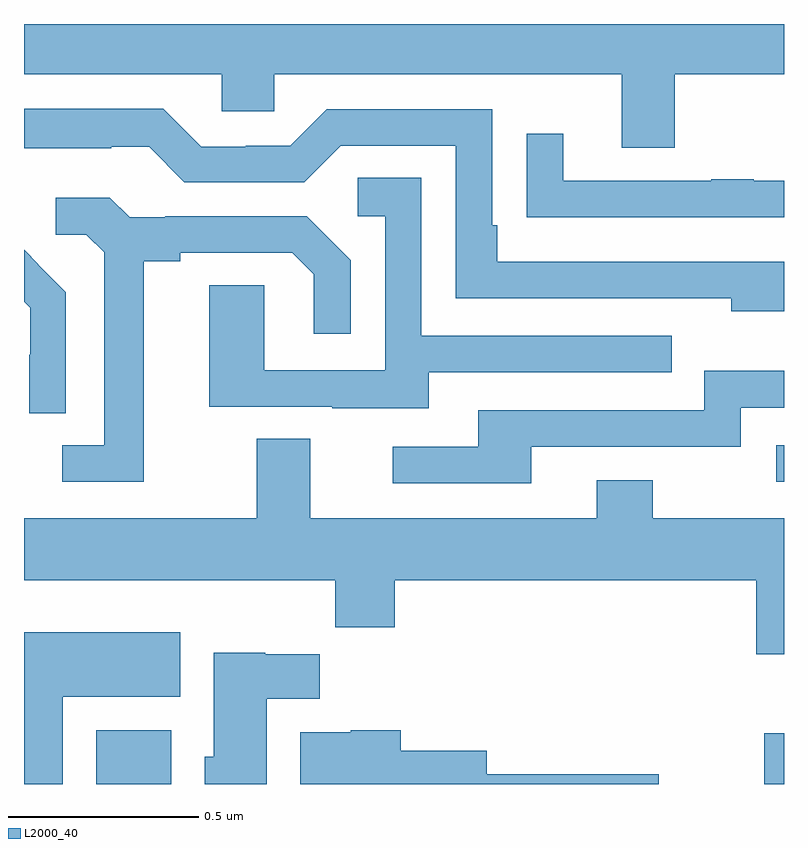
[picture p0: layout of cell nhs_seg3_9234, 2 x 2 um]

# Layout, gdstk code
import gdstk
lib = gdstk.Library(unit=1e-6, precision=1e-09)
def R(c, l, rs):  # rectangles x0, y0, x1, y1
    for r in rs: c.add(gdstk.rectangle(r[:2], r[2:], *l))
def P(c, l, *ps):  # polygons
    for p in ps: c.add(gdstk.Polygon(p, *l))
L2000_40 = (2000, 40)

nhs_seg3_9234 = lib.new_cell('nhs_seg3_9234')
R(nhs_seg3_9234, L2000_40, [(226.19,680.4,226.387,680.542), (227.948,680.4,228,680.533), (227.979,681.195,228,681.291)])
P(nhs_seg3_9234, L2000_40, [(227.713,682.268),(228,682.268),(228,682.4),(226,682.4),(226,682.268),(226.521,682.268),(226.521,682.17),(226.659,682.17),(226.659,682.268),(227.573,682.268),(227.573,682.074),(227.713,682.074)],
  [(228,681.774),(227.245,681.774),(227.245,681.871),(227.232,681.871),(227.232,682.176),(226.797,682.176),(226.701,682.08),(226.583,682.08),(226.583,682.077),(226.467,682.077),(226.367,682.177),(226,682.177),(226,682.073),(226.229,682.073),(226.229,682.077),(226.329,682.077),(226.422,681.984),(226.737,681.984),(226.833,682.08),(227.136,682.08),(227.136,681.678),(227.861,681.678),(227.861,681.644),(228,681.644)],
  [(228,681.987),(227.921,681.987),(227.921,681.992),(227.809,681.992),(227.809,681.987),(227.419,681.987),(227.419,682.111),(227.323,682.111),(227.323,681.892),(227.425,681.892),(227.425,681.891),(228,681.891)],
  [(227.065,681.483),(227.705,681.483),(227.705,681.579),(227.046,681.579),(227.046,681.995),(226.878,681.995),(226.878,681.894),(226.95,681.894),(226.95,681.489),(226.632,681.489),(226.632,681.713),(226.487,681.713),(226.487,681.393),(226.811,681.393),(226.811,681.389),(227.065,681.389)],
  [(226.315,681.776),(226.411,681.776),(226.411,681.798),(226.706,681.798),(226.763,681.741),(226.763,681.585),(226.86,681.585),(226.86,681.778),(226.744,681.894),(226.372,681.894),(226.372,681.891),(226.278,681.891),(226.226,681.943),(226.083,681.943),(226.083,681.846),(226.164,681.846),(226.211,681.799),(226.211,681.291),(226.101,681.291),(226.101,681.195),(226.315,681.195)],
  [(226.11,681.694),(226.037,681.767),(226.038,681.768),(226,681.806),(226,681.669),(226.016,681.653),(226.016,681.53),(226.014,681.53),(226.014,681.376),(226.11,681.376)],
  [(227.335,681.288),(227.886,681.288),(227.886,681.39),(228,681.39),(228,681.487),(227.79,681.487),(227.79,681.384),(227.195,681.384),(227.195,681.288),(226.971,681.288),(226.971,681.192),(227.335,681.192)],
  [(228,681.1),(227.655,681.1),(227.655,681.199),(227.507,681.199),(227.507,681.1),(226.753,681.1),(226.753,681.308),(226.613,681.308),(226.613,681.1),(226,681.1),(226,680.936),(226.819,680.936),(226.819,680.812),(226.976,680.812),(226.976,680.936),(227.927,680.936),(227.927,680.742),(228,680.742)],
  [(226.102,680.63),(226.411,680.63),(226.411,680.8),(226,680.8),(226,680.4),(226.102,680.4)],
  [(226.639,680.624),(226.778,680.624),(226.778,680.742),(226.635,680.742),(226.635,680.746),(226.499,680.746),(226.499,680.472),(226.475,680.472),(226.475,680.4),(226.639,680.4)],
  [(227.671,680.426),(227.218,680.426),(227.218,680.488),(226.991,680.488),(226.991,680.542),(226.86,680.542),(226.86,680.536),(226.727,680.536),(226.727,680.4),(227.671,680.4)])

lib.write_gds('nhs_seg3_9234.gds')
